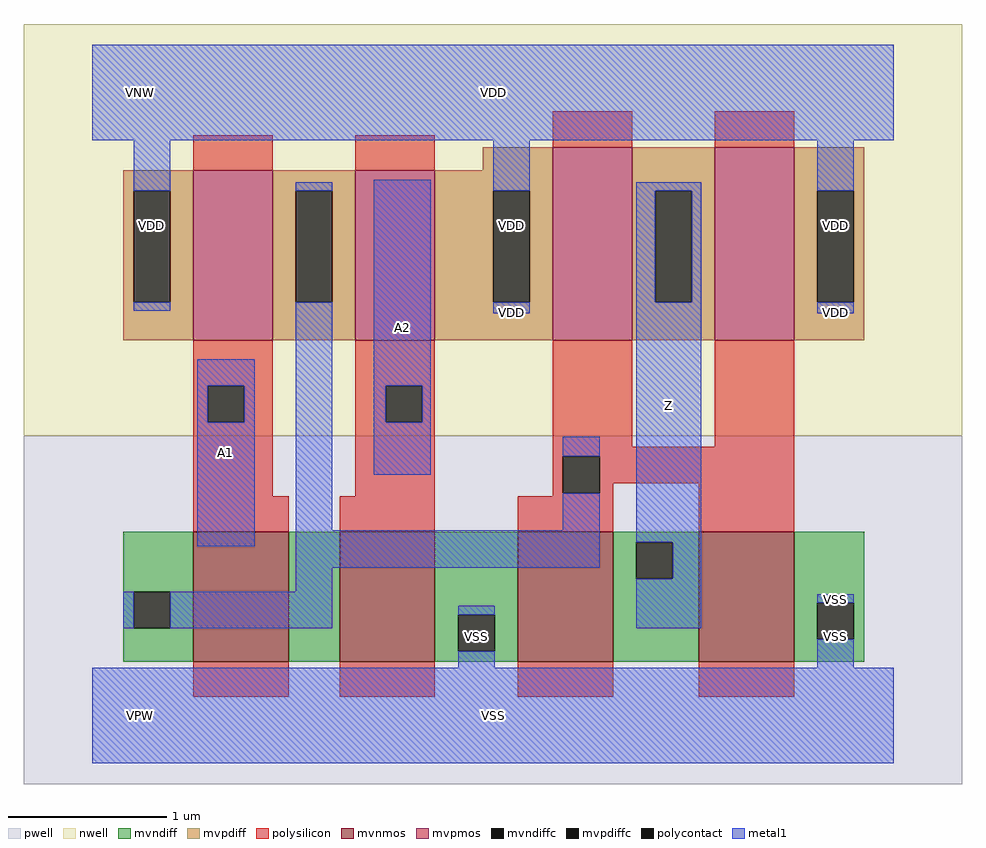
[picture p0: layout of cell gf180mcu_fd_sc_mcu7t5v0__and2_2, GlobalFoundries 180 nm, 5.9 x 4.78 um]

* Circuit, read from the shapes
.subckt gf180mcu_fd_sc_mcu7t5v0__and2_2 A1 A2 Z VDD VNW VPW VSS
XM1 n1 A1 n2 VPW nfet_06v0 w=0.815u l=0.6u
XM2 VSS A2 n1 VPW nfet_06v0 w=0.815u l=0.6u
XM3 Z n2 VSS VPW nfet_06v0 w=0.815u l=0.6u m=2
XM4 n2 A1 VDD VNW pfet_06v0 w=1.07u l=0.5u
XM5 VDD A2 n2 VNW pfet_06v0 w=1.07u l=0.5u
XM6 Z n2 VDD VNW pfet_06v0 w=1.215u l=0.5u m=2
.ends

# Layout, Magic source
magic
tech gf180mcuD
magscale 1 10
<< nwell >>
rect -86 352 1094 870
<< pwell >>
rect -86 -86 1094 352
<< mvnmos >>
rect 127 68 247 231
rect 311 68 431 231
rect 535 68 655 231
rect 763 68 883 231
<< mvpmos >>
rect 127 472 227 686
rect 331 472 431 686
rect 579 472 679 715
rect 783 472 883 715
<< mvndiff >>
rect 39 156 127 231
rect 39 110 52 156
rect 98 110 127 156
rect 39 68 127 110
rect 247 68 311 231
rect 431 127 535 231
rect 431 81 460 127
rect 506 81 535 127
rect 431 68 535 81
rect 655 218 763 231
rect 655 172 684 218
rect 730 172 763 218
rect 655 68 763 172
rect 883 142 971 231
rect 883 96 912 142
rect 958 96 971 142
rect 883 68 971 96
<< mvpdiff >>
rect 491 686 579 715
rect 39 660 127 686
rect 39 520 52 660
rect 98 520 127 660
rect 39 472 127 520
rect 227 660 331 686
rect 227 520 256 660
rect 302 520 331 660
rect 227 472 331 520
rect 431 660 579 686
rect 431 520 504 660
rect 550 520 579 660
rect 431 472 579 520
rect 679 660 783 715
rect 679 520 708 660
rect 754 520 783 660
rect 679 472 783 520
rect 883 660 971 715
rect 883 520 912 660
rect 958 520 971 660
rect 883 472 971 520
<< mvndiffc >>
rect 52 110 98 156
rect 460 81 506 127
rect 684 172 730 218
rect 912 96 958 142
<< mvpdiffc >>
rect 52 520 98 660
rect 256 520 302 660
rect 504 520 550 660
rect 708 520 754 660
rect 912 520 958 660
<< polysilicon >>
rect 127 686 227 730
rect 331 686 431 730
rect 579 715 679 760
rect 783 715 883 760
rect 127 415 227 472
rect 127 369 145 415
rect 191 369 227 415
rect 127 276 227 369
rect 331 415 431 472
rect 331 369 369 415
rect 415 369 431 415
rect 331 276 431 369
rect 579 338 679 472
rect 783 338 883 472
rect 579 326 883 338
rect 579 280 592 326
rect 638 292 883 326
rect 638 280 655 292
rect 579 276 655 280
rect 127 231 247 276
rect 311 231 431 276
rect 535 231 655 276
rect 763 231 883 292
rect 127 24 247 68
rect 311 24 431 68
rect 535 24 655 68
rect 763 24 883 68
<< polycontact >>
rect 145 369 191 415
rect 369 369 415 415
rect 592 280 638 326
<< metal1 >>
rect 0 724 1008 844
rect 52 660 98 724
rect 52 509 98 520
rect 256 660 302 671
rect 132 415 204 448
rect 132 369 145 415
rect 191 369 204 415
rect 132 213 204 369
rect 256 233 302 520
rect 354 415 426 674
rect 504 660 550 724
rect 504 506 550 520
rect 684 660 766 671
rect 684 520 708 660
rect 754 520 766 660
rect 354 369 369 415
rect 415 369 426 415
rect 354 303 426 369
rect 592 326 638 351
rect 592 233 638 280
rect 256 186 638 233
rect 684 218 766 520
rect 912 660 958 724
rect 912 506 958 520
rect 256 156 302 186
rect 39 110 52 156
rect 98 110 302 156
rect 730 172 766 218
rect 460 127 506 138
rect 684 110 766 172
rect 912 142 958 153
rect 460 60 506 81
rect 912 60 958 96
rect 0 -60 1008 60
<< labels >>
flabel metal1 s 0 724 1008 844 0 FreeSans 400 0 0 0 VDD
port 4 nsew power bidirectional abutment
flabel metal1 s 912 138 958 153 0 FreeSans 400 0 0 0 VSS
port 7 nsew ground bidirectional abutment
flabel metal1 s 684 110 766 671 0 FreeSans 400 0 0 0 Z
port 3 nsew default output
flabel metal1 s 132 213 204 448 0 FreeSans 400 0 0 0 A1
port 1 nsew default input
flabel metal1 s 354 303 426 674 0 FreeSans 400 0 0 0 A2
port 2 nsew default input
flabel nwell s 10 734 110 834 0 FreeSans 400 0 0 0 VNW
port 5 nsew power bidirectional
flabel pwell s 10 -50 110 50 0 FreeSans 400 0 0 0 VPW
port 6 nsew ground bidirectional
rlabel metal1 s 912 509 958 724 1 VDD
port 4 nsew power bidirectional abutment
rlabel metal1 s 504 509 550 724 1 VDD
port 4 nsew power bidirectional abutment
rlabel metal1 s 52 509 98 724 1 VDD
port 4 nsew power bidirectional abutment
rlabel metal1 s 912 506 958 509 1 VDD
port 4 nsew power bidirectional abutment
rlabel metal1 s 504 506 550 509 1 VDD
port 4 nsew power bidirectional abutment
rlabel metal1 s 912 60 958 138 1 VSS
port 7 nsew ground bidirectional abutment
rlabel metal1 s 460 60 506 138 1 VSS
port 7 nsew ground bidirectional abutment
rlabel metal1 s 0 -60 1008 60 1 VSS
port 7 nsew ground bidirectional abutment
<< properties >>
string FIXED_BBOX 0 0 1008 784
string GDS_END 1215328
string GDS_FILE $PDKPATH/libs.ref/gf180mcu_fd_sc_mcu7t5v0/gds/gf180mcu_fd_sc_mcu7t5v0.gds
string GDS_START 1211966
string LEFclass core
string LEFsite GF018hv5v_mcu_sc7
string LEFsymmetry X Y
<< end >>
